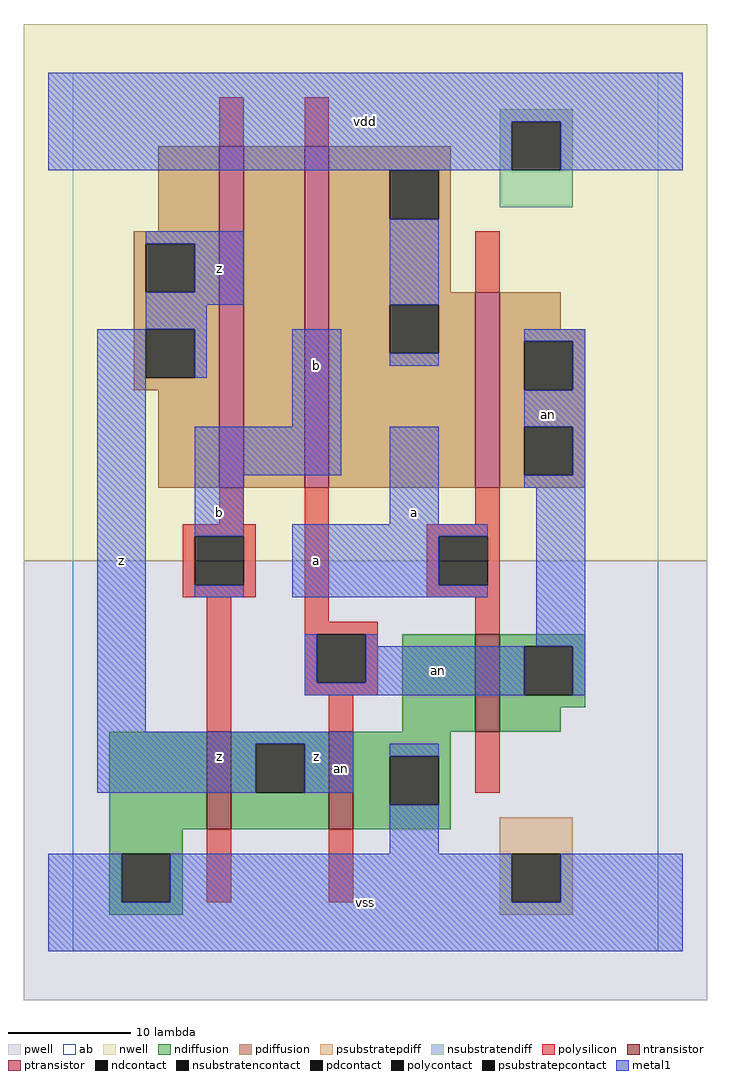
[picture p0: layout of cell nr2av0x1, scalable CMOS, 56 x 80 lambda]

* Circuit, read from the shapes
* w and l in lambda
.subckt nr2av0x1 a an b vdd vss z
M1 z b vss vss nfet w=8 l=2
M2 vss an z vss nfet w=8 l=2
M3 an a vss vss nfet w=8 l=2
M4 n1 b z vdd pfet w=28 l=2
M5 vdd an n1 vdd pfet w=28 l=2
M6 an a vdd vdd pfet w=16 l=2
.ends

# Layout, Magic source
magic
tech scmos
<< ab >>
rect 0 0 48 72
<< pwell >>
rect -4 -4 52 32
<< nwell >>
rect -4 32 52 76
<< polysilicon >>
rect 12 66 14 70
rect 19 66 21 70
rect 33 54 35 59
rect 12 35 14 38
rect 9 34 15 35
rect 9 30 10 34
rect 14 30 15 34
rect 9 29 15 30
rect 11 18 13 29
rect 19 27 21 38
rect 33 35 35 38
rect 29 34 35 35
rect 29 30 30 34
rect 34 30 35 34
rect 29 29 35 30
rect 19 26 25 27
rect 33 26 35 29
rect 19 22 20 26
rect 24 22 25 26
rect 19 21 25 22
rect 21 18 23 21
rect 33 13 35 18
rect 11 4 13 10
rect 21 4 23 10
<< ndiffusion >>
rect 27 18 33 26
rect 35 25 42 26
rect 35 21 37 25
rect 41 21 42 25
rect 35 20 42 21
rect 35 18 40 20
rect 3 10 11 18
rect 13 17 21 18
rect 13 13 15 17
rect 19 13 21 17
rect 13 10 21 13
rect 23 16 31 18
rect 23 12 26 16
rect 30 12 31 16
rect 23 10 31 12
rect 3 8 9 10
rect 3 4 4 8
rect 8 4 9 8
rect 3 3 9 4
<< pdiffusion >>
rect 7 59 12 66
rect 5 58 12 59
rect 5 54 6 58
rect 10 54 12 58
rect 5 51 12 54
rect 5 47 6 51
rect 10 47 12 51
rect 5 46 12 47
rect 7 38 12 46
rect 14 38 19 66
rect 21 64 31 66
rect 21 60 26 64
rect 30 60 31 64
rect 21 54 31 60
rect 21 53 33 54
rect 21 49 26 53
rect 30 49 33 53
rect 21 38 33 49
rect 35 51 40 54
rect 35 50 42 51
rect 35 46 37 50
rect 41 46 42 50
rect 35 43 42 46
rect 35 39 37 43
rect 41 39 42 43
rect 35 38 42 39
<< metal1 >>
rect -2 68 50 72
rect -2 64 36 68
rect 40 64 50 68
rect 6 58 14 59
rect 10 54 14 58
rect 6 53 14 54
rect 26 53 30 60
rect 6 51 11 53
rect 2 18 6 51
rect 10 47 11 51
rect 18 43 22 51
rect 26 48 30 49
rect 37 50 42 51
rect 41 46 42 50
rect 37 43 42 46
rect 10 39 22 43
rect 10 34 14 39
rect 26 35 30 43
rect 41 39 42 43
rect 37 38 42 39
rect 10 29 14 30
rect 18 34 34 35
rect 18 30 30 34
rect 18 29 34 30
rect 19 22 20 26
rect 24 25 25 26
rect 38 25 42 38
rect 24 22 37 25
rect 19 21 37 22
rect 41 21 42 25
rect 2 17 23 18
rect 2 13 15 17
rect 19 13 23 17
rect 26 16 30 17
rect 26 8 30 12
rect -2 4 4 8
rect 8 4 36 8
rect 40 4 50 8
rect -2 0 50 4
<< ntransistor >>
rect 33 18 35 26
rect 11 10 13 18
rect 21 10 23 18
<< ptransistor >>
rect 12 38 14 66
rect 19 38 21 66
rect 33 38 35 54
<< polycontact >>
rect 10 30 14 34
rect 30 30 34 34
rect 20 22 24 26
<< ndcontact >>
rect 37 21 41 25
rect 15 13 19 17
rect 26 12 30 16
rect 4 4 8 8
<< pdcontact >>
rect 6 54 10 58
rect 6 47 10 51
rect 26 60 30 64
rect 26 49 30 53
rect 37 46 41 50
rect 37 39 41 43
<< psubstratepcontact >>
rect 36 4 40 8
<< nsubstratencontact >>
rect 36 64 40 68
<< psubstratepdiff >>
rect 35 8 41 11
rect 35 4 36 8
rect 40 4 41 8
rect 35 3 41 4
<< nsubstratendiff >>
rect 35 68 41 69
rect 35 64 36 68
rect 40 64 41 68
rect 35 61 41 64
<< labels >>
rlabel ntransistor 22 15 22 15 6 an
rlabel metal1 4 32 4 32 6 z
rlabel metal1 20 16 20 16 6 z
rlabel metal1 12 16 12 16 6 z
rlabel metal1 20 32 20 32 6 a
rlabel metal1 12 36 12 36 6 b
rlabel metal1 20 48 20 48 6 b
rlabel metal1 12 56 12 56 6 z
rlabel metal1 24 4 24 4 6 vss
rlabel metal1 28 36 28 36 6 a
rlabel metal1 24 68 24 68 6 vdd
rlabel metal1 30 23 30 23 6 an
rlabel metal1 39 44 39 44 6 an
<< end >>
